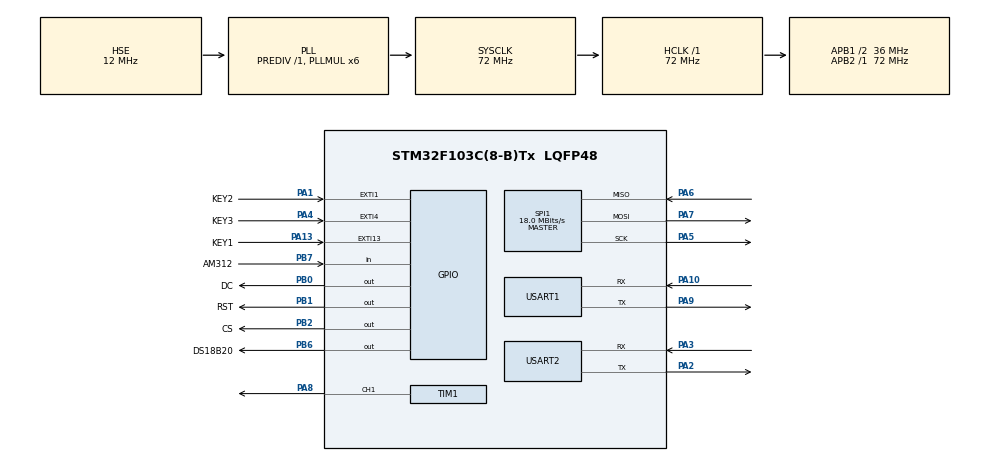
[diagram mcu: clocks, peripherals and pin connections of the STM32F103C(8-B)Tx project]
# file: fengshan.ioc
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Mcu.Family=STM32F1
Mcu.Name=STM32F103C(8-B)Tx
Mcu.Package=LQFP48
NVIC.EXTI15_10_IRQn=true\:1\:0\:true\:false\:true\:true\:true\:true
NVIC.EXTI1_IRQn=true\:1\:0\:true\:false\:true\:true\:true\:true
NVIC.EXTI4_IRQn=true\:1\:0\:true\:false\:true\:true\:true\:true
NVIC.PriorityGroup=NVIC_PRIORITYGROUP_4
NVIC.TIM4_IRQn=true\:4\:0\:true\:false\:true\:true\:true\:true
NVIC.USART2_IRQn=true\:2\:0\:true\:false\:true\:true\:true\:true
PA1.GPIO_Label=KEY2
PA1.GPIO_ModeDefaultEXTI=GPIO_MODE_IT_FALLING
PA1.GPIO_PuPd=GPIO_PULLUP
PA1.Signal=GPXTI1
PA10.Mode=Asynchronous
PA10.Signal=USART1_RX
PA13.GPIO_Label=KEY1
PA13.GPIO_ModeDefaultEXTI=GPIO_MODE_IT_FALLING
PA13.GPIO_PuPd=GPIO_PULLUP
PA13.Signal=GPXTI13
PA2.Mode=Asynchronous
PA2.Signal=USART2_TX
PA3.Mode=Asynchronous
PA3.Signal=USART2_RX
PA4.GPIO_Label=KEY3
PA4.GPIO_ModeDefaultEXTI=GPIO_MODE_IT_FALLING
PA4.GPIO_PuPd=GPIO_PULLUP
PA4.Signal=GPXTI4
PA5.Mode=Full_Duplex_Master
PA5.Signal=SPI1_SCK
PA6.Mode=Full_Duplex_Master
PA6.Signal=SPI1_MISO
PA7.Mode=Full_Duplex_Master
PA7.Signal=SPI1_MOSI
PA8.Signal=S_TIM1_CH1
PA9.Mode=Asynchronous
PA9.Signal=USART1_TX
PB0.GPIO_Label=DC
PB0.Signal=GPIO_Output
PB1.GPIO_Label=RST
PB1.Signal=GPIO_Output
PB2.GPIO_Label=CS
PB2.Signal=GPIO_Output
PB6.GPIO_Label=DS18B20
PB6.Signal=GPIO_Output
PB7.GPIO_Label=AM312
PB7.Signal=GPIO_Input
PD0-OSC_IN.Mode=HSE-External-Oscillator
PD0-OSC_IN.Signal=RCC_OSC_IN
PD1-OSC_OUT.Mode=HSE-External-Oscillator
PD1-OSC_OUT.Signal=RCC_OSC_OUT
ProjectManager.HeapSize=0x200
ProjectManager.StackSize=0x400
ProjectManager.TargetToolchain=STM32CubeIDE
RCC.AHBFreq_Value=72000000
RCC.APB1CLKDivider=RCC_HCLK_DIV2
RCC.APB1Freq_Value=36000000
RCC.APB1TimFreq_Value=72000000
RCC.APB2Freq_Value=72000000
RCC.APB2TimFreq_Value=72000000
RCC.HCLKFreq_Value=72000000
RCC.HSE_VALUE=12000000
RCC.PLLMUL=RCC_PLL_MUL6
RCC.PLLSourceVirtual=RCC_PLLSOURCE_HSE
RCC.SYSCLKFreq_VALUE=72000000
RCC.SYSCLKSource=RCC_SYSCLKSOURCE_PLLCLK
RCC.USBFreq_Value=72000000
SH.S_TIM1_CH1.0=TIM1_CH1,PWM Generation1 CH1
SPI1.BaudRatePrescaler=SPI_BAUDRATEPRESCALER_4
SPI1.CalculateBaudRate=18.0 MBits/s
SPI1.Direction=SPI_DIRECTION_2LINES
SPI1.Mode=SPI_MODE_MASTER
SPI1.VirtualType=VM_MASTER
TIM1.Channel-PWM\ Generation1\ CH1=TIM_CHANNEL_1
TIM1.Period=3600-1
TIM1.Prescaler=2-1
TIM2.Prescaler=72-1
TIM4.AutoReloadPreload=TIM_AUTORELOAD_PRELOAD_ENABLE
TIM4.Period=10000-1
TIM4.Prescaler=7200-1
USART1.VirtualMode=VM_ASYNC
USART2.VirtualMode=VM_ASYNC
VP_SYS_VS_ND.Mode=No_Debug
VP_TIM1_VS_ClockSourceINT.Mode=Internal
VP_TIM2_VS_ClockSourceINT.Mode=Internal
VP_TIM4_VS_ClockSourceINT.Mode=Internal
board=custom

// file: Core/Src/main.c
/* USER CODE BEGIN Header */
/**
  ******************************************************************************
  * @file           : main.c
  * @brief          : Main program body
  ******************************************************************************
  * @attention
  *
  * <h2><center>&copy; Copyright (c) 2022 STMicroelectronics.
  * All rights reserved.</center></h2>
  *
  * This software component is licensed by ST under BSD 3-Clause license,
  * the "License"; You may not use this file except in compliance with the
  * License. You may obtain a copy of the License at:
  *                        opensource.org/licenses/BSD-3-Clause
  *
  ******************************************************************************
  */
/* USER CODE END Header */
#include "main.h"
#include "spi.h"
#include "tim.h"
#include "usart.h"
#include "gpio.h"

/* USER CODE BEGIN Includes */
#include "MqttKit.h"
#include "onenet.h"
#include "esp8266.h"
#include "string.h"
#include "stdio.h"
#include "DS18B20.h"
#include "lcd.h"
#include "GUI.h"
/* USER CODE END Includes */

/* USER CODE BEGIN PV */
uint16_t human_flag = 0, mode = 0, key_mode = 0,  time = 0;
int dingshishijian = 0, timecount = 0;
float shedingwenduH = 27.0, shedingwenduM = 26.0, shedingwenduL = 25.0;
unsigned char *dataPtr = NULL;
uint8_t show_buf[50];

uint8_t buf_size = 0;
/* USER CODE END PV */

void SystemClock_Config(void);

int main(void)
{

  /* MCU Configuration--------------------------------------------------------*/

  /* Reset of all peripherals, Initializes the Flash interface and the Systick. */
  HAL_Init();

  /* Configure the system clock */
  SystemClock_Config();

  /* Initialize all configured peripherals */
  MX_GPIO_Init();
  MX_TIM2_Init();
  MX_TIM1_Init();
  MX_USART2_UART_Init();
  MX_SPI1_Init();
  MX_TIM4_Init();
  MX_USART1_UART_Init();
  /* USER CODE BEGIN 2 */
  LCD_Init();
  HAL_TIM_Base_Start(&htim2);
  HAL_TIM_PWM_Start(&htim1, TIM_CHANNEL_1);

  HAL_UART_Receive_IT(&huart2, (uint8_t *)UART2_temp, REC_LENGTH);

  ESP8266_Init();

  while(OneNet_DevLink())			//接入OneNET
	  HAL_Delay(500);

  sprintf(show_buf, "温度模式");
  Show_Str(0, 0, BLUE, WHITE, show_buf, 32, 0);
  sprintf(show_buf, "定时时间 %3d秒", dingshishijian);
  Show_Str(0, 120, BLUE, WHITE, show_buf, 32, 0);
  /* USER CODE END 2 */

  /* Infinite loop */
  while (1)
  {

    /* USER CODE BEGIN 3 */
	  //显示定时时间
	  shedingwenduM = (shedingwenduH + shedingwenduL) / 2;
	  sprintf(show_buf, "TH %.1f, TM %.1f, TL%.1f", shedingwenduH, shedingwenduM, shedingwenduL);
	  Show_Str(0, 150, BLUE, WHITE, show_buf, 16, 0);
	  //检测并显示温度
	  DS18B20();

	  Temp_byte1 = DS18B20_Read();
	  Temp_byte2 = DS18B20_Read();
	  TEMP = (Temp_byte2<<8)|Temp_byte1;
	  Temperature = (float)TEMP/16;

	  sprintf(show_buf, "tem is %.2f", Temperature);
	  Show_Str(0, 30, BLUE, WHITE, show_buf, 32, 0);

	  //检测人体状态并显示
	  if( timecount++ < 10)
	  {
		  timecount = 0;
		  if( HAL_GPIO_ReadPin(AM312_GPIO_Port, AM312_Pin) == 1)
			  human_flag = 1;
		  else
			  human_flag = 0;
	  }

	  if(human_flag == 1)
	  {
		  sprintf(show_buf, "有人");
		  Show_Str(0, 60, BLUE, WHITE, show_buf, 32, 0);
	  }
	  else
	  {
		  sprintf(show_buf, "没人");
		  Show_Str(0, 60, BLUE, WHITE, show_buf, 32, 0);
	  }
	  dataPtr = ESP8266_GetIPD(0);
	  if(dataPtr != NULL)
		  OneNet_RevPro(dataPtr);
	  HAL_Delay(10);
	  switch(mode)
	  {
		  case 0:
		  {
			  sprintf(show_buf, "温度模式");
			  Show_Str(0, 0, BLUE, WHITE, show_buf, 32, 0);
			  if( human_flag == 1)
			  {
				  if( Temperature > shedingwenduH)
				  {
					  __HAL_TIM_SetCompare(&htim1, TIM_CHANNEL_1, 3600);
					  sprintf(show_buf, "3档  ");
					  Show_Str(0, 90, BLUE, WHITE, show_buf, 32, 0);
				  }
				  else if( Temperature < shedingwenduH && Temperature > shedingwenduM)
				  {
					  __HAL_TIM_SetCompare(&htim1, TIM_CHANNEL_1, 2400);
					  sprintf(show_buf, "2档  ");
					  Show_Str(0, 90, BLUE, WHITE, show_buf, 32, 0);
				  }
				  else if( Temperature > shedingwenduL && Temperature < shedingwenduM)
				  {
					  __HAL_TIM_SetCompare(&htim1, TIM_CHANNEL_1, 1200);
					  sprintf(show_buf, "1档  ");
					  Show_Str(0, 90, BLUE, WHITE, show_buf, 32, 0);
				  }
				  else
				  {
				  	  __HAL_TIM_SetCompare(&htim1, TIM_CHANNEL_1, 0);
				  	  sprintf(show_buf, "关闭");
				  	  Show_Str(0, 90, BLUE, WHITE, show_buf, 32, 0);
				  }
			  }
			  else
			  {
				  	  __HAL_TIM_SetCompare(&htim1, TIM_CHANNEL_1, 0);
				  	  sprintf(show_buf, "关闭");
				  	  Show_Str(0, 90, BLUE, WHITE, show_buf, 32, 0);
			  }
			  break;
		  }
		  case 1:
		  {
			  sprintf(show_buf, "手动模式");
			  Show_Str(0, 0, BLUE, WHITE, show_buf, 32, 0);
			  if( key_mode == 0)
			  {
			  	  __HAL_TIM_SetCompare(&htim1, TIM_CHANNEL_1, 0);
			  	  sprintf(show_buf, "关闭");
			  	  Show_Str(0, 90, BLUE, WHITE, show_buf, 32, 0);
			  }
			  else if(key_mode == 1)
			  {
			  	  __HAL_TIM_SetCompare(&htim1, TIM_CHANNEL_1, 1200);
			  	  sprintf(show_buf, "1档  ");
			  	  Show_Str(0, 90, BLUE, WHITE, show_buf, 32, 0);
			  }
			  else if(key_mode == 2)
			  {
			  	  __HAL_TIM_SetCompare(&htim1, TIM_CHANNEL_1, 2400);
			  	  sprintf(show_buf, "2档  ");
			  	  Show_Str(0, 90, BLUE, WHITE, show_buf, 32, 0);
			  }
			  else if(key_mode == 3)
			  {
			  	  __HAL_TIM_SetCompare(&htim1, TIM_CHANNEL_1, 3600);
			  	  sprintf(show_buf, "3档  ");
			  	  Show_Str(0, 90, BLUE, WHITE, show_buf, 32, 0);
			  }
			  break;
		  }
		  case 2:
		  {
			  sprintf(show_buf, "定时模式");
			  Show_Str(0, 0, BLUE, WHITE, show_buf, 32, 0);
			  HAL_TIM_Base_Start_IT(&htim4);
			  while( dingshishijian >= 0)
			  {
				  sprintf(show_buf, "定时时间 %2d秒", dingshishijian);
				  Show_Str(0, 120, BLUE, WHITE, show_buf, 32, 0);
			  	  __HAL_TIM_SetCompare(&htim1, TIM_CHANNEL_1, 2400);
			  	  sprintf(show_buf, "2档  ");
			  	  Show_Str(0, 90, BLUE, WHITE, show_buf, 32, 0);
			  }
			  time = 0;
		  	  __HAL_TIM_SetCompare(&htim1, TIM_CHANNEL_1, 0);
		  	  sprintf(show_buf, "关闭");
		  	  Show_Str(0, 90, BLUE, WHITE, show_buf, 32, 0);
		  	  HAL_TIM_Base_Stop_IT(&htim4);
		  	  break;
		  }
	  }

////	  if(++timeCount >= 500)									//发送时间间隔5s
////	  {
//////		  printf("OneNet_Publish\r\n");
//////		  OneNet_Publish(device_pub_topic, "MQTT Publish Test");
////		  printf( "OneNet_SendData\r\n");
////
////		  OneNet_SendData();//发送数据给onenet
////
////		  timeCount = 0;
////		  ESP8266_Clear();
////	  }
//
////	  printf("humanflag is %d\r\n", human_flag);
  }
  /* USER CODE END 3 */
}

void SystemClock_Config(void)
{
  RCC_OscInitTypeDef RCC_OscInitStruct = {0};
  RCC_ClkInitTypeDef RCC_ClkInitStruct = {0};

  /** Initializes the RCC Oscillators according to the specified parameters
  * in the RCC_OscInitTypeDef structure.
  */
  RCC_OscInitStruct.OscillatorType = RCC_OSCILLATORTYPE_HSE;
  RCC_OscInitStruct.HSEState = RCC_HSE_ON;
  RCC_OscInitStruct.HSEPredivValue = RCC_HSE_PREDIV_DIV1;
  RCC_OscInitStruct.HSIState = RCC_HSI_ON;
  RCC_OscInitStruct.PLL.PLLState = RCC_PLL_ON;
  RCC_OscInitStruct.PLL.PLLSource = RCC_PLLSOURCE_HSE;
  RCC_OscInitStruct.PLL.PLLMUL = RCC_PLL_MUL6;
  if (HAL_RCC_OscConfig(&RCC_OscInitStruct) != HAL_OK)
  {
    Error_Handler();
  }
  /** Initializes the CPU, AHB and APB buses clocks
  */
  RCC_ClkInitStruct.ClockType = RCC_CLOCKTYPE_HCLK|RCC_CLOCKTYPE_SYSCLK
                              |RCC_CLOCKTYPE_PCLK1|RCC_CLOCKTYPE_PCLK2;
  RCC_ClkInitStruct.SYSCLKSource = RCC_SYSCLKSOURCE_PLLCLK;
  RCC_ClkInitStruct.AHBCLKDivider = RCC_SYSCLK_DIV1;
  RCC_ClkInitStruct.APB1CLKDivider = RCC_HCLK_DIV2;
  RCC_ClkInitStruct.APB2CLKDivider = RCC_HCLK_DIV1;

  if (HAL_RCC_ClockConfig(&RCC_ClkInitStruct, FLASH_LATENCY_2) != HAL_OK)
  {
    Error_Handler();
  }
}

/* USER CODE BEGIN 4 */
#ifdef __GNUC__
#define PUTCHAR_PROTOTYPE int __io_putchar(int ch)
#else
#define PUTCHAR_PROTOTYPE int fputc(int ch, FILE *f)
#endif
PUTCHAR_PROTOTYPE
{
    HAL_UART_Transmit(&huart1, (uint8_t *)&ch, 1, 0xFFFF);
    return ch;
}

void delay (uint16_t time)
{
	/* change your code here for the delay in microseconds */
	__HAL_TIM_SET_COUNTER(&htim2, 0);
	while ((__HAL_TIM_GET_COUNTER(&htim2))<time);
}

void HAL_UART_RxCpltCallback(UART_HandleTypeDef *huart)
{
  if(huart == &huart2)
  {
	esp8266_buf[esp8266_cnt] = UART2_temp[0];
	esp8266_cnt++;
//    if(0x0a == UART2_temp[0])
//    {
//      UART2_Rx_flg = 1;
//    }
//    if(UART2_Rx_flg)
//	{
//    	for(int i = 0;i<esp8266_cnt;i++)
//    		esp8266_buf[i] = 0;
////    	esp8266_cnt = 0;
//    	UART2_Rx_flg = 0;
//	}
	HAL_UART_Receive_IT(&huart2,(uint8_t *)UART2_temp,1);
  }
}
void HAL_GPIO_EXTI_Callback(uint16_t GPIO_Pin)
{
	if( GPIO_Pin == KEY1_Pin)
	{
		if( HAL_GPIO_ReadPin(KEY1_GPIO_Port, KEY1_Pin) == 0)
		{
			mode += 1;
		}
	}
	else if( GPIO_Pin == KEY2_Pin)
	{
		if( HAL_GPIO_ReadPin(KEY2_GPIO_Port, KEY2_Pin) == 0)
		{
			switch(mode)
			{
				case 0:
				{
					shedingwenduH += 1;
					break;
				}
				case 1:
				{
					key_mode += 1;
					break;
				}
				case 2:
				{
					time +=1;
					break;
				}
			}
		}
	}
	else if( GPIO_Pin == KEY3_Pin)
	{
		if( HAL_GPIO_ReadPin(KEY3_GPIO_Port, KEY3_Pin) == 0)
		{
			switch(mode)
			{
				case 0:
				{
					shedingwenduL -= 1;
					break;
				}
				case 1:
				{
					key_mode -= 1;
					break;
				}
				case 2:
				{
					time -=1;
					break;
				}
			}
		}
	}

	if( mode == 3)
		mode = 0;
	if( key_mode < 0 || key_mode >3)
		key_mode = 0;
	dingshishijian = time;

//	HAL_Delay(100);
//	__HAL_GPIO_EXTI_CLEAR_IT(GPIO_Pin);
}

void HAL_TIM_PeriodElapsedCallback(TIM_HandleTypeDef *htim)
{
	if( htim == (&htim4) )
		--dingshishijian;
}

/* USER CODE END 4 */

void Error_Handler(void)
{
  __disable_irq();
  while (1)
  {
  }
}

/************************ (C) COPYRIGHT STMicroelectronics *****END OF FILE****/
